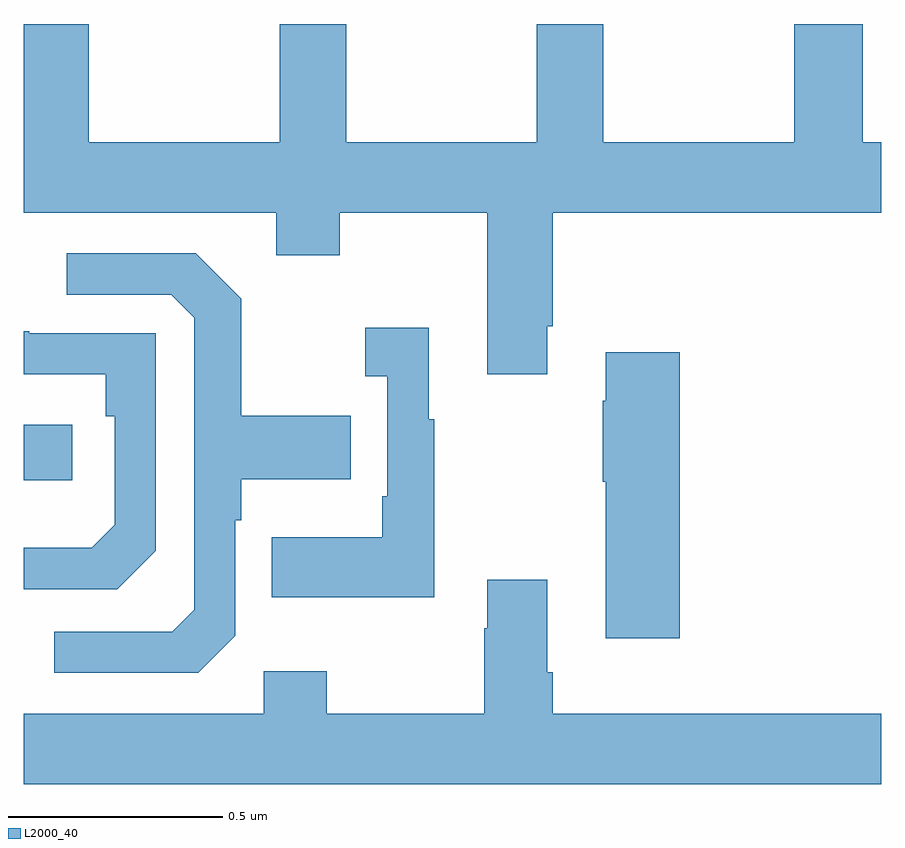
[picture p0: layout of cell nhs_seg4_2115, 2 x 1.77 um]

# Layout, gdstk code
import gdstk
lib = gdstk.Library(unit=1e-6, precision=1e-09)
def R(c, l, rs):  # rectangles x0, y0, x1, y1
    for r in rs: c.add(gdstk.rectangle(r[:2], r[2:], *l))
def P(c, l, *ps):  # polygons
    for p in ps: c.add(gdstk.Polygon(p, *l))
L2000_40 = (2000, 40)

nhs_seg4_2115 = lib.new_cell('nhs_seg4_2115')
R(nhs_seg4_2115, L2000_40, [(136,822.836,136.114,822.966)])
P(nhs_seg4_2115, L2000_40, [(137.221,823.195),(137.234,823.195),(137.234,823.46),(138,823.46),(138,823.624),(137.957,823.624),(137.957,823.9),(137.797,823.9),(137.797,823.624),(137.352,823.624),(137.352,823.9),(137.197,823.9),(137.197,823.624),(136.752,823.624),(136.752,823.9),(136.597,823.9),(136.597,823.624),(136.152,823.624),(136.152,823.9),(136,823.9),(136,823.46),(136.589,823.46),(136.589,823.361),(136.737,823.361),(136.737,823.46),(137.081,823.46),(137.081,823.083),(137.221,823.083)],
  [(136.494,822.474),(136.494,822.743),(136.507,822.743),(136.507,822.839),(136.763,822.839),(136.763,822.987),(136.507,822.987),(136.507,823.259),(136.401,823.365),(136.101,823.365),(136.101,823.269),(136.344,823.269),(136.398,823.215),(136.398,822.534),(136.347,822.483),(136.071,822.483),(136.071,822.387),(136.407,822.387)],
  [(136.957,822.979),(136.945,822.979),(136.945,823.192),(136.797,823.192),(136.797,823.079),(136.848,823.079),(136.848,822.799),(136.836,822.799),(136.836,822.703),(136.579,822.703),(136.579,822.563),(136.957,822.563)],
  [(136.308,822.672),(136.308,823.179),(136.013,823.179),(136.013,823.184),(136,823.184),(136,823.083),(136.192,823.083),(136.192,822.986),(136.212,822.986),(136.212,822.732),(136.159,822.679),(136,822.679),(136,822.582),(136.218,822.582)],
  [(137.53,823.135),(137.357,823.135),(137.357,823.022),(137.35,823.022),(137.35,822.833),(137.357,822.833),(137.357,822.468),(137.53,822.468)],
  [(138,822.292),(137.234,822.292),(137.234,822.388),(137.221,822.388),(137.221,822.604),(137.081,822.604),(137.081,822.491),(137.074,822.491),(137.074,822.292),(136.707,822.292),(136.707,822.391),(136.56,822.391),(136.56,822.292),(136,822.292),(136,822.128),(138,822.128)])

lib.write_gds('nhs_seg4_2115.gds')
